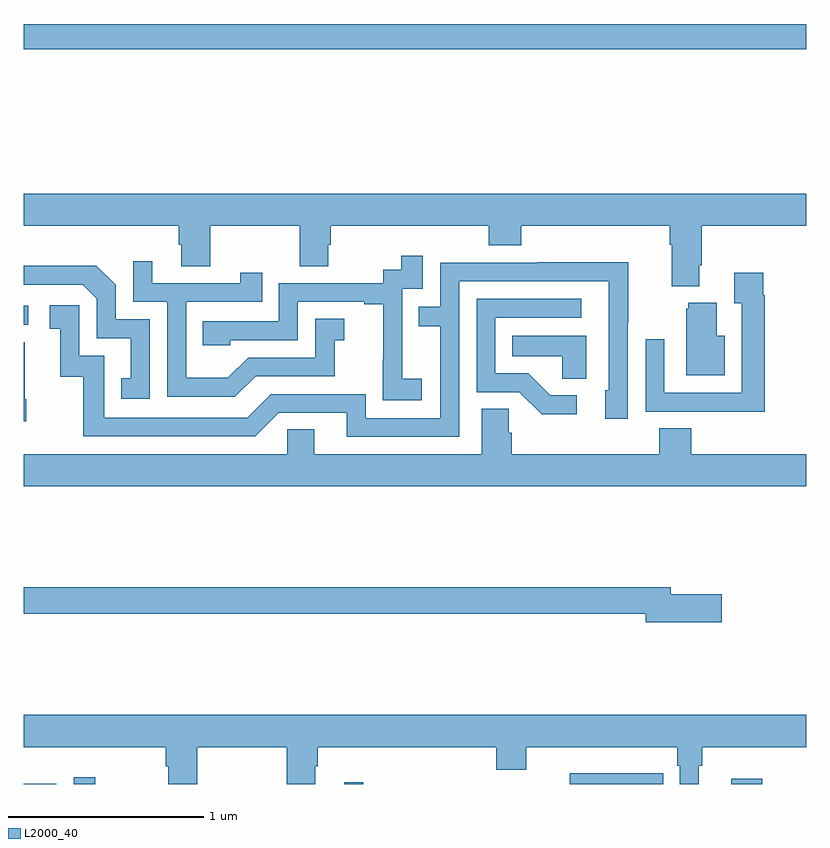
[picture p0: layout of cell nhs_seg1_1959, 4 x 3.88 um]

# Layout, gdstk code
import gdstk
lib = gdstk.Library(unit=1e-6, precision=1e-09)
def R(c, l, rs):  # rectangles x0, y0, x1, y1
    for r in rs: c.add(gdstk.rectangle(r[:2], r[2:], *l))
def P(c, l, *ps):  # polygons
    for p in ps: c.add(gdstk.Polygon(p, *l))
L2000_40 = (2000, 40)

nhs_seg1_1959 = lib.new_cell('nhs_seg1_1959')
R(nhs_seg1_1959, L2000_40, [(217,562.199,217.167,562.2), (217.257,562.199,217.366,562.234), (218.639,562.199,218.736,562.207), (220.616,562.199,220.775,562.225), (217,564.546,217.024,564.642), (217,565.954,221,566.083)])
P(nhs_seg1_1959, L2000_40, [(220.453,564.85),(220.466,564.85),(220.466,565.052),(221,565.052),(221,565.216),(217,565.216),(217,565.052),(217.793,565.052),(217.793,564.954),(217.805,564.954),(217.805,564.844),(217.953,564.844),(217.953,565.052),(218.41,565.052),(218.41,564.844),(218.557,564.844),(218.557,564.954),(218.57,564.954),(218.57,565.052),(219.377,565.052),(219.377,564.953),(219.542,564.953),(219.542,565.052),(220.301,565.052),(220.301,564.956),(220.313,564.956),(220.313,564.743),(220.453,564.743)],
  [(219.034,564.271),(218.936,564.271),(218.936,564.5),(218.934,564.5),(218.934,564.729),(219.039,564.729),(219.039,564.898),(218.931,564.898),(218.931,564.828),(218.838,564.828),(218.838,564.759),(218.304,564.759),(218.304,564.564),(217.915,564.564),(217.915,564.441),(218.055,564.441),(218.055,564.468),(218.4,564.468),(218.4,564.663),(218.741,564.663),(218.741,564.651),(218.837,564.651),(218.837,564.367),(218.836,564.367),(218.836,564.161),(219.034,564.161)],
  [(218.185,564.282),(218.589,564.282),(218.589,564.467),(218.638,564.467),(218.638,564.577),(218.49,564.577),(218.49,564.378),(218.148,564.378),(218.044,564.274),(217.83,564.274),(217.83,564.663),(218.219,564.663),(218.219,564.811),(218.108,564.811),(218.108,564.759),(217.657,564.759),(217.657,564.871),(217.56,564.871),(217.56,564.663),(217.734,564.663),(217.734,564.177),(218.08,564.177)],
  [(219.225,564.768),(219.99,564.768),(219.99,564.21),(219.971,564.21),(219.971,564.066),(220.086,564.066),(220.086,564.559),(220.089,564.559),(220.089,564.866),(219.625,564.866),(219.625,564.864),(219.129,564.864),(219.129,564.639),(219.019,564.639),(219.019,564.538),(219.129,564.538),(219.129,564.069),(218.748,564.069),(218.748,564.192),(218.262,564.192),(218.142,564.072),(217.413,564.072),(217.413,564.387),(217.284,564.387),(217.284,564.646),(217.134,564.646),(217.134,564.525),(217.187,564.525),(217.187,564.279),(217.305,564.279),(217.305,563.976),(218.184,563.976),(218.304,564.096),(218.651,564.096),(218.651,563.973),(219.225,563.973)],
  [(217.644,564.573),(217.47,564.573),(217.47,564.75),(217.372,564.848),(217,564.848),(217,564.75),(217.302,564.75),(217.374,564.678),(217.374,564.477),(217.547,564.477),(217.547,564.273),(217.498,564.273),(217.498,564.168),(217.644,564.168)],
  [(220.787,564.698),(220.78,564.698),(220.78,564.811),(220.631,564.811),(220.631,564.655),(220.671,564.655),(220.671,564.198),(220.275,564.198),(220.275,564.472),(220.179,564.472),(220.179,564.102),(220.495,564.102),(220.495,564.101),(220.787,564.101)],
  [(219.826,564.186),(219.691,564.186),(219.58,564.297),(219.411,564.297),(219.411,564.582),(219.85,564.582),(219.85,564.678),(219.315,564.678),(219.315,564.201),(219.534,564.201),(219.647,564.089),(219.826,564.089)],
  [(220.582,564.49),(220.543,564.49),(220.543,564.658),(220.397,564.658),(220.397,564.627),(220.385,564.627),(220.385,564.287),(220.582,564.287)],
  [(219.874,564.49),(219.496,564.49),(219.496,564.386),(219.753,564.386),(219.753,564.271),(219.874,564.271)],
  [(217.014,564.166),(217.006,564.166),(217.006,564.457),(217,564.457),(217,564.054),(217.014,564.054)],
  [(221,563.884),(220.412,563.884),(220.412,564.017),(220.247,564.017),(220.247,563.884),(219.494,563.884),(219.494,563.993),(219.48,563.993),(219.48,564.116),(219.341,564.116),(219.341,563.884),(218.485,563.884),(218.485,564.011),(218.346,564.011),(218.346,563.884),(217,563.884),(217,563.72),(221,563.72)],
  [(220.567,563.168),(220.306,563.168),(220.306,563.204),(217,563.204),(217,563.068),(220.178,563.068),(220.178,563.026),(220.567,563.026)],
  [(217.887,562.388),(218.344,562.388),(218.344,562.199),(218.491,562.199),(218.491,562.29),(218.504,562.29),(218.504,562.388),(219.416,562.388),(219.416,562.271),(219.568,562.271),(219.568,562.388),(220.34,562.388),(220.34,562.292),(220.353,562.292),(220.353,562.199),(220.45,562.199),(220.45,562.292),(220.469,562.292),(220.469,562.388),(221,562.388),(221,562.552),(217,562.552),(217,562.388),(217.727,562.388),(217.727,562.29),(217.739,562.29),(217.739,562.199),(217.887,562.199)],
  [(220.268,562.254),(220.16,562.254),(220.16,562.255),(219.792,562.255),(219.792,562.199),(220.268,562.199)])

lib.write_gds('nhs_seg1_1959.gds')
